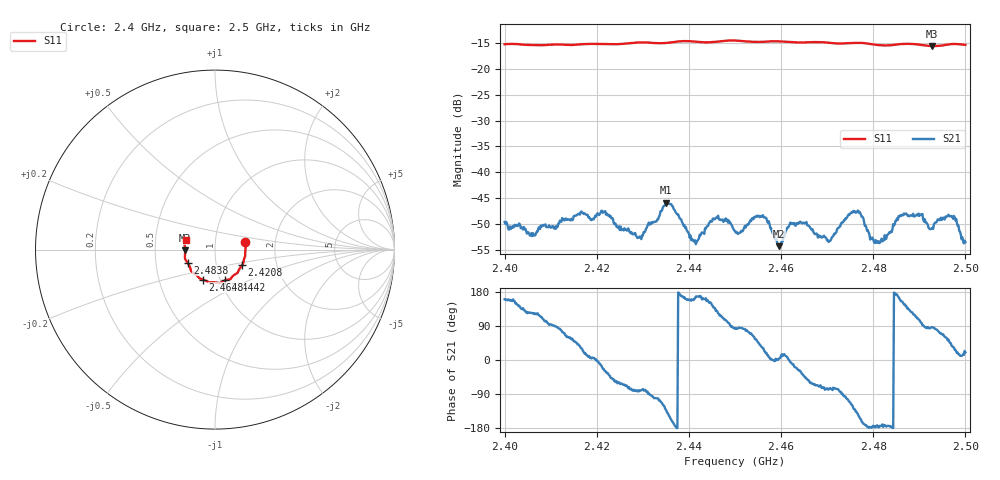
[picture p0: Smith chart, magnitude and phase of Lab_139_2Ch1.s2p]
# Hz S RI R 50
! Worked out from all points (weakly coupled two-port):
!   601 points, 2.4 GHz to 2.5 GHz, reference 50 ohm
!   highest |S21| = -45.87 dB at 2.435 GHz (marker M1); lowest = -54.3 dB at 2.4595 GHz (marker M2)
!   lowest |S11| = -15.6 dB at 2.4928 GHz (marker M3), VSWR 1.40, Z = 35.8 - j0.346 ohm
!   |S11| at or under -10 dB: start of sweep to end of sweep
!   S12 and S22 are empty: the file has one direction only
!   S11 on the Smith chart (normalised r, x): 2.4 GHz: 1.40, +0.12; 2.4208 GHz: 1.33, -0.24; 2.4442 GHz: 1.05, -0.37; 2.4648 GHz: 0.83, -0.29; 2.4838 GHz: 0.73, -0.11; 2.5 GHz: 0.72, +0.08
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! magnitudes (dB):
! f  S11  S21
! 2.4 GHz  -15.3  -49.6
! 2.4062 GHz  -15.4  -51.8
! 2.4167 GHz  -15.2  -47.6
! 2.4208 GHz  -15.2  -47.8
! 2.4292 GHz  -14.9  -52.6
! 2.4333 GHz  -15.0  -49.1
! 2.435 GHz  -15.0  -45.9
! 2.441 GHz  -14.7  -53.2
! 2.4442 GHz  -14.9  -50.3
! 2.45 GHz  -14.5  -51.4
! 2.4562 GHz  -14.8  -48.5
! 2.4595 GHz  -14.7  -54.3
! 2.4648 GHz  -14.9  -49.7
! 2.4667 GHz  -14.8  -51.2
! 2.4705 GHz  -15.0  -53.3
! 2.4762 GHz  -15.0  -47.8
! 2.4798 GHz  -15.3  -52.6
! 2.4833 GHz  -15.5  -51.9
! 2.4838 GHz  -15.4  -51.4
! 2.4928 GHz  -15.6  -50.8
! 2.4972 GHz  -15.2  -48.7
! 2.5 GHz  -15.4  -53.5
